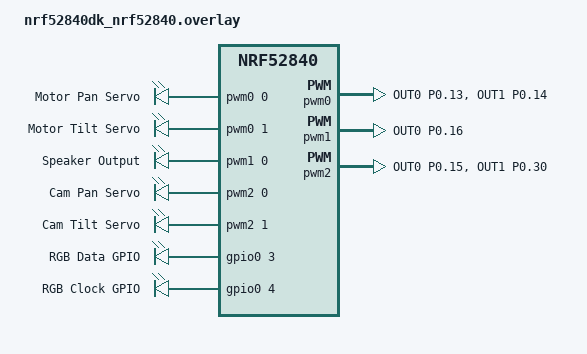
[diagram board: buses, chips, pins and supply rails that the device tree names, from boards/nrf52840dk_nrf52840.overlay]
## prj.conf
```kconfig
CONFIG_PWM=y
CONFIG_GPIO=y
CONFIG_UART_CONSOLE=y
CONFIG_SERIAL=y
CONFIG_SHELL=y
CONFIG_SHELL_BACKEND_SERIAL=y

CONFIG_BT=y
CONFIG_BT_OBSERVER=y
CONFIG_BT_CENTRAL=y
CONFIG_BT_HCI=y
CONFIG_BT_PERIPHERAL=y
CONFIG_BT_DEVICE_NAME="ARC_NO_A"
CONFIG_BT_DEVICE_APPEARANCE=0
CONFIG_BT_PRIVACY=n
CONFIG_BT_MAX_CONN=2
CONFIG_BT_MAX_PAIRED=0

CONFIG_LOG=y
CONFIG_LOG_MODE_DEFERRED=y
CONFIG_LOG_DEFAULT_LEVEL=3
CONFIG_LOG_BUFFER_SIZE=2048
CONFIG_PRINTK=y

CONFIG_SHELL=y
CONFIG_SHELL_BACKEND_SERIAL=y
CONFIG_UART_CONSOLE=y

CONFIG_FLASH=y
CONFIG_FLASH_MAP=y
CONFIG_FILE_SYSTEM=y
CONFIG_FILE_SYSTEM_LITTLEFS=y
CONFIG_MAIN_STACK_SIZE=4096
```

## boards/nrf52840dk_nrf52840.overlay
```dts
/ {
    aliases {
        motor-servo-pan = &motor_servo_pan;
        motor-servo-tilt = &motor_servo_tilt;
        cam-servo-pan = &cam_servo_pan;
        cam-servo-tilt = &cam_servo_tilt;
        speaker-out = &speaker_pwm;
        rgb-data = &rgb_data;
        rgb-clock = &rgb_clock;
    };

    pwmleds {
        compatible = "pwm-leds";
        status = "okay";

        motor_servo_pan: pan_led {
            pwms = <&pwm0 0 PWM_MSEC(20) PWM_POLARITY_NORMAL>; // P0.13
            label = "Motor Pan Servo";
        };

        motor_servo_tilt: tilt_led {
            pwms = <&pwm0 1 PWM_MSEC(20) PWM_POLARITY_NORMAL>; // P0.14
            label = "Motor Tilt Servo";
        };

        speaker_pwm: speaker_led {
            pwms = <&pwm1 0 PWM_USEC(1000) PWM_POLARITY_NORMAL>; // P0.16
            label = "Speaker Output";
        };

        cam_servo_pan: pan2_led {
            pwms = <&pwm2 0 PWM_MSEC(20) PWM_POLARITY_NORMAL>;  // P0.15
            label = "Cam Pan Servo";
        };

        cam_servo_tilt: tilt2_led {
            pwms = <&pwm2 1 PWM_MSEC(20) PWM_POLARITY_NORMAL>;  // P0.30
            label = "Cam Tilt Servo";
        };
    };

    rgb_gpios {
        compatible = "gpio-leds";

        rgb_data: rgb_data {
            gpios = <&gpio0 3 GPIO_ACTIVE_HIGH>;
            label = "RGB Data GPIO";
        };

        rgb_clock: rgb_clock {
            gpios = <&gpio0 4 GPIO_ACTIVE_HIGH>;
            label = "RGB Clock GPIO";
        };
    };
};

&pwm0 {
    status = "okay";
    pinctrl-0 = <&pwm0_default>;
    pinctrl-1 = <&pwm0_sleep>;
    pinctrl-names = "default", "sleep";
};

&pwm1 {
    status = "okay";
    pinctrl-0 = <&pwm1_default>;
    pinctrl-1 = <&pwm1_sleep>;
    pinctrl-names = "default", "sleep";
};

&pwm2 {
    status = "okay";
    pinctrl-0 = <&pwm2_default>;
    pinctrl-1 = <&pwm2_sleep>;
    pinctrl-names = "default", "sleep";
};

&pinctrl {
    pwm0_default: pwm0_default {
        group1 {
            psels = <NRF_PSEL(PWM_OUT0, 0, 13)>,  // P0.13 = Motor Pan
                    <NRF_PSEL(PWM_OUT1, 0, 14)>;  // P0.14 = Motor Tilt
        };
    };

    pwm0_sleep: pwm0_sleep {
        group1 {};
    };

    pwm1_default: pwm1_default {
        group1 {
            psels = <NRF_PSEL(PWM_OUT0, 0, 16)>;  // P0.16 = Speaker
        };
    };

    pwm1_sleep: pwm1_sleep {
        group1 {
            psels = <NRF_PSEL(PWM_OUT0, 0, 16)>;
        };
    };

    pwm2_default: pwm2_default {
        group1 {
            psels = <NRF_PSEL(PWM_OUT0, 0, 15)>,  // P0.15 = Cam Pan
                    <NRF_PSEL(PWM_OUT1, 0, 30)>;   // P0.30 = Cam Tilt
        };
    };

    pwm2_sleep: pwm2_sleep {
        group1 {
            psels = <NRF_PSEL(PWM_OUT0, 0, 15)>,
                    <NRF_PSEL(PWM_OUT1, 0, 30)>;
        };
    };
};
```

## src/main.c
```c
#include <zephyr/kernel.h>
#include <zephyr/device.h>
#include <zephyr/drivers/pwm.h>
#include <zephyr/devicetree.h>
#include <zephyr/init.h>
#include <zephyr/bluetooth/bluetooth.h>
#include <zephyr/bluetooth/hci.h>
#include <string.h>
#include <stdlib.h>
#include <math.h>
#include <zephyr/fs/littlefs.h>
#include <zephyr/logging/log.h>
#include <zephyr/shell/shell.h>
#include <zephyr/fs/fs.h>
#include <zephyr/drivers/gpio.h>
#include <hal/nrf_gpio.h>

LOG_MODULE_REGISTER(nrf, LOG_LEVEL_INF);

#define PWM_PERIOD_USEC 20000

#define PAN_LEFT_USEC 2600
#define PAN_RIGHT_USEC 700
#define PAN_CENTER_USEC 1700

#define TILT_DOWN_USEC 500
#define TILT_UP_USEC 2000
#define TILT_CENTER_USEC 1000

#define CAM_PAN_STEP_USEC 200
#define CAM_TILT_STEP_USEC 100

#define CAM_PAN_MIN_USEC 800
#define CAM_PAN_CENTER_USEC 1300
#define CAM_PAN_MAX_USEC 1800

#define CAM_TILT_MIN_USEC 800
#define CAM_TILT_CENTER_USEC 1100
#define CAM_TILT_MAX_USEC 1400

static int tone_volume_factor = 1000;
static bool logging_enabled = false;

static const struct pwm_dt_spec motor_pan = PWM_DT_SPEC_GET(DT_ALIAS(motor_servo_pan));
static const struct pwm_dt_spec motor_tilt = PWM_DT_SPEC_GET(DT_ALIAS(motor_servo_tilt));
static const struct pwm_dt_spec speaker = PWM_DT_SPEC_GET(DT_ALIAS(speaker_out));
static const struct pwm_dt_spec cam_pan = PWM_DT_SPEC_GET(DT_ALIAS(cam_servo_pan));
static const struct pwm_dt_spec cam_tilt = PWM_DT_SPEC_GET(DT_ALIAS(cam_servo_tilt));

static int32_t cam_pan_pos = CAM_PAN_CENTER_USEC;
static int32_t cam_tilt_pos = CAM_TILT_CENTER_USEC;

#define STACK_SIZE 2048
#define PRIORITY 5

#define LOG_QUEUE_SIZE 10
#define RGB_QUEUE_SIZE 10
#define LOG_MSG_MAX_LEN 64

#define RGB_DATA_NODE DT_ALIAS(rgb_data)
#define RGB_CLK_NODE DT_ALIAS(rgb_clock)

static const struct gpio_dt_spec rgb_di_spec = GPIO_DT_SPEC_GET(RGB_DATA_NODE, gpios);
static const struct gpio_dt_spec rgb_ci_spec = GPIO_DT_SPEC_GET(RGB_CLK_NODE, gpios);

#define RGB_DI 3
#define RGB_CI 4

K_MSGQ_DEFINE(log_msgq, LOG_MSG_MAX_LEN, LOG_QUEUE_SIZE, 4);
K_MSGQ_DEFINE(rgb_msgq, sizeof(int), RGB_QUEUE_SIZE, 4);

K_THREAD_STACK_DEFINE(bt_scan_stack, STACK_SIZE);
static struct k_thread bt_scan_thread_data;
K_THREAD_STACK_DEFINE(tone_stack_area, STACK_SIZE);
static struct k_thread tone_thread_data;
K_THREAD_STACK_DEFINE(log_thread_stack, STACK_SIZE);
static struct k_thread log_thread_data;
K_THREAD_STACK_DEFINE(rgb_thread_stack, STACK_SIZE);
static struct k_thread rgb_thread_data;

struct tone_control {
  struct k_mutex lock;
  float current_distance;
  bool active;
};

static struct tone_control tone_ctrl = {
    .lock = Z_MUTEX_INITIALIZER(tone_ctrl.lock),
    .current_distance = 0.0f,
    .active = false
};

void play_tone(uint32_t freq_hz, uint32_t duration_ms)
{
  if (!device_is_ready(speaker.dev)) {
    printk("Speaker PWM not ready\n");
    return;
  }

  uint32_t period = 1000000 / freq_hz;
  uint32_t pulse = period / tone_volume_factor;

  int ret = pwm_set_dt(&speaker, PWM_USEC(period), PWM_USEC(pulse));
  if (ret < 0) {
    printk("PWM set failed: %d\n", ret);
    return;
  }

  k_msleep(duration_ms);
  pwm_set_dt(&speaker, 0, 0);  // Stop tone
}

void tone_thread_fn(void *arg1, void *arg2, void *arg3)
{
  while (1) {
    k_mutex_lock(&tone_ctrl.lock, K_FOREVER);

    float d = tone_ctrl.current_distance;
    bool should_play = tone_ctrl.active;

    k_mutex_unlock(&tone_ctrl.lock);

    if (!should_play || d >= 2.0f) {
      k_msleep(200);
      continue;
    }

    uint32_t gap_duration = 0;

    if (d < 0.5f) {
      gap_duration = 100;
    } else if (d < 1.0f) {
      gap_duration = 500;
    } else if (d < 2.0f) {
      gap_duration = 1000;
    }

    play_tone(1000, 200); // Always beep for 200 ms
    k_msleep(gap_duration); // Wait before next beep
  }
}

void send_rgb_bit(uint8_t bit) {
  gpio_pin_set_dt(&rgb_di_spec, bit); // Set Data line (DI)
  k_sleep(K_USEC(10));
  gpio_pin_set_dt(&rgb_ci_spec, 1);
  k_sleep(K_USEC(10));
  gpio_pin_set_dt(&rgb_ci_spec, 0);
}

void send_rgb_byte(uint8_t byte) {
  for (int i = 7; i >= 0; i--) {
    send_rgb_bit((byte >> i) & 1);
  }
}

void send_rgb_colour(uint8_t red, uint8_t green, uint8_t blue) {
  // Send 6-bit prefix based on colour MSB bits
  uint8_t prefix = 0b11000000;
  if (!(blue & 0x80)) {
    prefix |= 0b00100000;
  }
  if (!(blue & 0x40)) {
    prefix |= 0b00010000;
  }
  if (!(green & 0x80)) {
    prefix |= 0b00001000;
  }
  if (!(green & 0x40)) {
    prefix |= 0b00000100;
  }
  if (!(red & 0x80)) {
    prefix |= 0b00000010;
  }
  if (!(red & 0x40)) {
    prefix |= 0b00000001;
  }

  send_rgb_byte(prefix);
  send_rgb_byte(blue);
  send_rgb_byte(green);
  send_rgb_byte(red);
}

void send_rgb_sequence(uint8_t red, uint8_t green, uint8_t blue) {
  for (int i = 0; i < 4; i++) {
    send_rgb_byte(0x00);  // Start frame
  }
  send_rgb_colour(red, green, blue);
  for (int i = 0; i < 4; i++) {
    send_rgb_byte(0x00);  // End frame
  }
}

void rgb_thread_fn(void *arg1, void *arg2, void *arg3) {
  int ret;
  if (!device_is_ready(rgb_di_spec.port) || !device_is_ready(rgb_ci_spec.port)) {
    printk("Error: RGB GPIO devices are not ready\n");
    return;
  }
  ret = gpio_pin_configure_dt(&rgb_di_spec, GPIO_OUTPUT_ACTIVE);
  if (ret < 0) {
    printk("Error: Failed to configure RGB Data GPIO\n");
    return;
  }
  ret = gpio_pin_configure_dt(&rgb_ci_spec, GPIO_OUTPUT_ACTIVE);
  if (ret < 0) {
    printk("Error: Failed to configure RGB Clock GPIO\n");
    return;
  }

  while (1) {
    int cmd;
    static int last_cmd = -1;

    if (k_msgq_get(&rgb_msgq, &cmd, K_FOREVER) == 0) {
      last_cmd = cmd;
    }

    while (1) {
      int new_cmd;
      if (k_msgq_get(&rgb_msgq, &new_cmd, K_NO_WAIT) == 0) {
        last_cmd = new_cmd;
        break;
      }

      switch (last_cmd) {
      case 0: // GO - Green
        send_rgb_sequence(0, 255, 0);
        break;
      case 1: // STOP - Red
        send_rgb_sequence(255, 0, 0);
        break;
      case 2: // LEFT - Yellow blink
        send_rgb_sequence(255, 255, 0);
        k_msleep(300);
        send_rgb_sequence(0, 0, 0);
        k_msleep(300);
        continue;
      case 3: // RIGHT - Blue blink
        send_rgb_sequence(0, 0, 255);
        k_msleep(300);
        send_rgb_sequence(0, 0, 0);
        k_msleep(300);
        continue;
      default:
        send_rgb_sequence(0, 0, 0); // Default OFF
        break;
      }
    }
  }
}

void handle_distance(int int_part, int frac_part)
{
  float distance = int_part + (frac_part / 100.0f);

  k_mutex_lock(&tone_ctrl.lock, K_FOREVER);
  tone_ctrl.current_distance = distance;
  tone_ctrl.active = true;
  k_mutex_unlock(&tone_ctrl.lock);

  LOG_INF("Tracking proximity: %d.%02d m", int_part, frac_part);
}

void log_thread_fn(void *arg1, void *arg2, void *arg3) {
  char msg_buf[LOG_MSG_MAX_LEN];

  while (1) {
    if (k_msgq_get(&log_msgq, &msg_buf, K_FOREVER) == 0) {
      struct fs_file_t file;
      fs_file_t_init(&file);
      if (fs_open(&file, "/lfs/log.txt", FS_O_WRITE | FS_O_CREATE | FS_O_APPEND) == 0) {
        fs_write(&file, msg_buf, strlen(msg_buf));
        fs_close(&file);
      } else {
        printk("Failed to write to /lfs/log.txt\n");
      }
    }
  }
}

struct bt_le_scan_param scan_param = {
    .type     = BT_HCI_LE_SCAN_PASSIVE,
    .options  = BT_LE_SCAN_OPT_NONE,
    .interval = 0x0010,
    .window   = 0x0010,
};

static bool ad_extract_rpi_msg(struct bt_data *data, void *user_data)
{
  char *mfg_buf = user_data;
  if (data->type == BT_DATA_MANUFACTURER_DATA) {
    size_t len = MIN(data->data_len, 30);
    // Skip the 2-byte manufacturer ID (e.g., 0xFFFF)
    if (data->data_len > 2) {
      memcpy(mfg_buf, data->data + 2, len - 2);
      mfg_buf[len - 2] = '\0';
    } else {
      mfg_buf[0] = '\0';  // Invalid manufacturer payload
    }
    return false;
  }
  return true;
}

void handle_command(int cmd)
{
  switch (cmd) {
  case 0: // GO
    pwm_set(motor_tilt.dev, motor_tilt.channel, PWM_USEC(PWM_PERIOD_USEC), PWM_USEC(TILT_DOWN_USEC), 0);
    pwm_set(motor_pan.dev, motor_pan.channel, PWM_USEC(PWM_PERIOD_USEC), PWM_USEC(PAN_CENTER_USEC), 0);
    LOG_INF("[ACTION] GO");
    break;
  case 1: // STOP
    pwm_set(motor_tilt.dev, motor_tilt.channel, PWM_USEC(PWM_PERIOD_USEC), PWM_USEC(TILT_UP_USEC), 0);
    pwm_set(motor_pan.dev, motor_pan.channel, PWM_USEC(PWM_PERIOD_USEC), PWM_USEC(PAN_CENTER_USEC), 0);
    LOG_INF("[ACTION] STOP");
    break;
  case 2: // LEFT
    pwm_set(motor_pan.dev, motor_pan.channel, PWM_USEC(PWM_PERIOD_USEC), PWM_USEC(PAN_LEFT_USEC), 0);
    pwm_set(motor_tilt.dev, motor_tilt.channel, PWM_USEC(PWM_PERIOD_USEC), PWM_USEC(TILT_DOWN_USEC), 0);
    LOG_INF("[ACTION] LEFT");
    break;
  case 3: // RIGHT
    pwm_set(motor_pan.dev, motor_pan.channel, PWM_USEC(PWM_PERIOD_USEC), PWM_USEC(PAN_RIGHT_USEC), 0);
    pwm_set(motor_tilt.dev, motor_tilt.channel, PWM_USEC(PWM_PERIOD_USEC), PWM_USEC(TILT_DOWN_USEC), 0);
    LOG_INF("[ACTION] RIGHT");
    break;
  default:
    LOG_WRN("Unknown command received: %d", cmd);
    break;
  }
}

void handle_camera_movement(char cam_pan_buf[5], char cam_tilt_buf[5]) {
  int pan_dir = cam_pan_buf[0] - '0';
  int pan_offset = atoi(&cam_pan_buf[1]);
  int tilt_dir = cam_tilt_buf[0] - '0';
  int tilt_offset = atoi(&cam_tilt_buf[1]);

  cam_pan_pos = (pan_dir == 2) ? CAM_PAN_CENTER_USEC
                               : CAM_PAN_CENTER_USEC + ((pan_dir == 1) ? pan_offset : -pan_offset);

  cam_tilt_pos = (tilt_dir == 2) ? CAM_TILT_CENTER_USEC
                                 : CAM_TILT_CENTER_USEC + ((tilt_dir == 1) ? tilt_offset : -tilt_offset);

  pwm_set(cam_pan.dev, cam_pan.channel, PWM_USEC(PWM_PERIOD_USEC), PWM_USEC(cam_pan_pos), 0);
  pwm_set(cam_tilt.dev, cam_tilt.channel, PWM_USEC(PWM_PERIOD_USEC), PWM_USEC(cam_tilt_pos), 0);

  LOG_INF("Cam moved to pan=%ld tilt=%ld", (long)cam_pan_pos, (long)cam_tilt_pos);
}

void scan_cb(const bt_addr_le_t *addr, int8_t rssi,
             uint8_t type, struct net_buf_simple *ad)
{
  char mfg_buf[32] = {0};
  bt_data_parse(ad, ad_extract_rpi_msg, mfg_buf);

  if (strncmp(mfg_buf, "B1:", 3) == 0) {
    int cmd = -1;
    int int_part = 0;
    int frac_part = 0;
    char cam_pan_buf[5] = {0};  // 4 digits + null
    char cam_tilt_buf[5] = {0};

    if (sscanf(mfg_buf + 3, "%d,%d.%d,%4s,%4s",
               &cmd, &int_part, &frac_part, cam_pan_buf, cam_tilt_buf) == 5) {

      LOG_INF("Parsed BLE: cmd=%d, dist=%d.%02d, cam_pan=%s, cam_tilt=%s",
              cmd, int_part, frac_part, cam_pan_buf, cam_tilt_buf);

      // Convert distance and command
      handle_command(cmd);
      handle_distance(int_part, frac_part);
      handle_camera_movement(cam_pan_buf, cam_tilt_buf);

      const char *gesture_str = NULL;
      if (cmd == 0) {
        gesture_str = "Go";
      } else if (cmd == 1) {
        gesture_str = "Stop";
      } else if (cmd == 2) {
        gesture_str = "Left";
      } else if (cmd == 3) {
        gesture_str = "Right";
      }

      if (gesture_str && logging_enabled) {
        char line[LOG_MSG_MAX_LEN];
        snprintf(line, sizeof(line), "Gesture: %s, Distance: %d.%02dm\n", gesture_str, int_part, frac_part);
        if (k_msgq_put(&log_msgq, &line, K_NO_WAIT) != 0) {
          printk("Log queue full, dropping log entry\n");
        }
      }
      if (k_msgq_put(&rgb_msgq, &cmd, K_NO_WAIT) != 0) {
        printk("RGB queue full, dropping RGB entry\n");
      }
    } else {
      LOG_WRN("Malformed B1 packet: %s", mfg_buf);
    }
  }
}

void bt_scan_thread_fn(void)
{
  int err = bt_le_scan_start(&scan_param, scan_cb);

  if (err && err != -EALREADY) {
    LOG_ERR("[NRF] Failed to start scan: %d", err);
  } else {
    LOG_INF("[NRF] Scan started.");
  }
}

static int clamp(const struct shell *shell, int val, int min, int max, const char *label) {
  if (val < min) {
    shell_print(shell, "%s reached minimum limit (%d)", label, min);
    return min;
  }
  if (val > max) {
    shell_print(shell, "%s reached maximum limit (%d)", label, max);
    return max;
  }
  return val;
}

FS_LITTLEFS_DECLARE_DEFAULT_CONFIG(storage);

static struct fs_mount_t lfs_storage_mnt = {
    .type = FS_LITTLEFS,
    .mnt_point = "/lfs",
    .fs_data = &storage,
    .storage_dev = (void *)FIXED_PARTITION_ID(storage_partition),
};

void init_fs(void) {
  int rc = fs_mount(&lfs_storage_mnt);
  if (rc < 0) {
    printk("Error mounting LittleFS [%d]\n", rc);
  } else {
    printk("Mounted LittleFS at /lfs\n");
  }
}

// Shell commands
static int cmd_simulate(const struct shell *shell, size_t argc, char **argv) {
  if (argc != 3) {
    shell_print(shell, "Usage: simulate <gesture:go|stop|left|right> <distance:float>");
    return -EINVAL;
  }

  const char *gesture = argv[1];
  float distance = strtof(argv[2], NULL);
  int cmd = -1;

  if (strcmp(gesture, "go") == 0) {
    cmd = 0;
  } else if (strcmp(gesture, "stop") == 0) {
    cmd = 1;
  } else if (strcmp(gesture, "left") == 0) {
    cmd = 2;
  } else if (strcmp(gesture, "right") == 0) {
    cmd = 3;
  } else {
    shell_print(shell, "Invalid gesture: %s", gesture);
    return -EINVAL;
  }

  handle_command(cmd);

  int int_part = (int)distance;
  int frac_part = (int)((distance - int_part) * 100);
  handle_distance(int_part, frac_part);

  if (k_msgq_put(&rgb_msgq, &cmd, K_NO_WAIT) != 0) {
    printk("RGB queue full, dropping RGB entry\n");
  }

  shell_print(shell, "Simulating gesture %s and distance %d.%02d", gesture, int_part, frac_part);
  return 0;
}

static int cmd_tone(const struct shell *shell, size_t argc, char **argv) {
  if (argc < 2) {
    shell_print(shell, "Usage: tone <off|on|volume <int>|distance <float>>");
    return -EINVAL;
  }

  const char *subcmd = argv[1];

  if (strcmp(subcmd, "off") == 0) {
    tone_volume_factor = 10000;
    shell_print(shell, "Tone disabled");
  } else if (strcmp(subcmd, "on") == 0) {
    tone_volume_factor = 1000;
    shell_print(shell, "Tone enabled (default volume)");
  } else if (strcmp(subcmd, "volume") == 0) {
    if (argc != 3) {
      shell_print(shell, "Usage: tone volume <int>");
      return -EINVAL;
    }
    int vol = atoi(argv[2]);
    if (vol <= 0) {
      shell_print(shell, "Invalid volume.");
      return -EINVAL;
    }
    tone_volume_factor = vol;
    shell_print(shell, "Tone volume factor set to %d", vol);
  } else if (strcmp(subcmd, "distance") == 0) {
    if (argc != 3) {
      shell_print(shell, "Usage: tone distance <float>");
      return -EINVAL;
    }
    float d = strtof(argv[2], NULL);
    int int_part = (int)d;
    int frac_part = (int)((d - int_part) * 100);
    handle_distance(int_part, frac_part);
    shell_print(shell, "Tone set for distance %d.%02dm", int_part, frac_part);
  } else {
    shell_print(shell, "Unknown tone command: %s", subcmd);
    return -EINVAL;
  }

  return 0;
}

static int cmd_pt(const struct shell *shell, size_t argc, char **argv) {
  if (argc < 3) {
    shell_print(shell, "Usage: pt <cam|motor> <args>");
    return -EINVAL;
  }

  const char *target = argv[1];

  if (strcmp(target, "cam") == 0) {
    if (argc != 4) {
      shell_print(shell, "Usage: pt cam <pan|tilt> <left|right|center|up|down>");
      return -EINVAL;
    }

    const char *axis = argv[2];
    const char *dir = argv[3];
    int pulse = 0;

    if (strcmp(axis, "pan") == 0) {
      if (strcmp(dir, "right") == 0) {
        cam_pan_pos -= CAM_PAN_STEP_USEC;
      } else if (strcmp(dir, "left") == 0) {
        cam_pan_pos += CAM_PAN_STEP_USEC;
      } else if (strcmp(dir, "center") == 0) {
        cam_pan_pos = CAM_PAN_CENTER_USEC;
      } else {
        shell_print(shell, "Invalid direction for pan: %s", dir);
        return -EINVAL;
      }
      cam_pan_pos = clamp(shell, cam_pan_pos, CAM_PAN_MIN_USEC, CAM_PAN_MAX_USEC, "Cam pan");
      pulse = cam_pan_pos;
      pwm_set(cam_pan.dev, cam_pan.channel, PWM_USEC(PWM_PERIOD_USEC), PWM_USEC(pulse), 0);
    } else if (strcmp(axis, "tilt") == 0) {
      if (strcmp(dir, "up") == 0) {
        cam_tilt_pos -= CAM_TILT_STEP_USEC;
      } else if (strcmp(dir, "down") == 0) {
        cam_tilt_pos += CAM_TILT_STEP_USEC;
      } else if (strcmp(dir, "center") == 0) {
        cam_tilt_pos = CAM_TILT_CENTER_USEC;
      } else {
        shell_print(shell, "Invalid direction for tilt: %s", dir);
        return -EINVAL;
      }
      cam_tilt_pos = clamp(shell, cam_tilt_pos, CAM_TILT_MIN_USEC, CAM_TILT_MAX_USEC, "Cam tilt");
      pulse = cam_tilt_pos;
      pwm_set(cam_tilt.dev, cam_tilt.channel, PWM_USEC(PWM_PERIOD_USEC), PWM_USEC(pulse), 0);
    } else {
      shell_print(shell, "Invalid axis: %s", axis);
      return -EINVAL;
    }

    shell_print(shell, "Moved cam %s to %s -> pulse = %d", axis, dir, pulse);
  } else if (strcmp(target, "motor") == 0) {
    const char *action = argv[2];
    if (strcmp(action, "go") == 0) {
      handle_command(0);
    } else if (strcmp(action, "stop") == 0) {
      handle_command(1);
    } else if (strcmp(action, "left") == 0) {
      handle_command(2);
    } else if (strcmp(action, "right") == 0) {
      handle_command(3);
    } else {
      shell_print(shell, "Invalid motor action: %s", action);
      return -EINVAL;
    }
    shell_print(shell, "Moved motor for action %s", action);
  } else {
    shell_print(shell, "Unknown target: %s", target);
    return -EINVAL;
  }

  return 0;
}

static int cmd_log_start(const struct shell *shell, size_t argc, char **argv) {
  logging_enabled = true;
  shell_print(shell, "Logging enabled.");
  return 0;
}

static int cmd_log_stop(const struct shell *shell, size_t argc, char **argv) {
  logging_enabled = false;
  shell_print(shell, "Logging disabled.");
  return 0;
}

static int cmd_log_read(const struct shell *shell, size_t argc, char **argv) {
  if (argc != 2) {
    shell_print(shell, "Usage: log_read <filename>");
    return -EINVAL;
  }

  char path[64];
  snprintf(path, sizeof(path), "/lfs/%s", argv[1]);

  struct fs_file_t file;
  fs_file_t_init(&file);

  if (fs_open(&file, path, FS_O_READ) < 0) {
    shell_print(shell, "Failed to open %s", path);
    return -ENOENT;
  }

  char ch;
  char line[128];
  size_t pos = 0;

  while (fs_read(&file, &ch, 1) == 1) {
    if (ch == '\n' || pos >= sizeof(line) - 1) {
      line[pos] = '\0';
      shell_print(shell, "%s", line);
      pos = 0;
    } else {
      line[pos++] = ch;
    }
  }

  if (pos > 0) {  // flush final line if no newline
    line[pos] = '\0';
    shell_print(shell, "%s", line);
  }

  fs_close(&file);
  return 0;
}

static int cmd_log_write(const struct shell *shell, size_t argc, char **argv) {
  if (argc < 3) {
    shell_print(shell, "Usage: log_write <filename> <text>");
    return -EINVAL;
  }

  char path[64];
  snprintf(path, sizeof(path), "/lfs/%s", argv[1]);

  struct fs_file_t file;
  fs_file_t_init(&file);

  if (fs_open(&file, path, FS_O_WRITE | FS_O_CREATE | FS_O_APPEND) == 0) {
    for (size_t i = 2; i < argc; i++) {
      fs_write(&file, argv[i], strlen(argv[i]));
      fs_write(&file, " ", 1);
    }
    fs_write(&file, "\n", 1);
    fs_close(&file);
    shell_print(shell, "Entry written to %s", path);
  } else {
    shell_print(shell, "Failed to write to %s", path);
  }

  return 0;
}

static int cmd_log_list(const struct shell *shell, size_t argc, char **argv) {
  struct fs_dir_t dir;
  struct fs_dirent entry;

  fs_dir_t_init(&dir);

  if (fs_opendir(&dir, "/lfs") < 0) {
    shell_print(shell, "Failed to open /lfs");
    return -ENOENT;
  }

  while (fs_readdir(&dir, &entry) == 0 && entry.name[0] != 0) {
    shell_print(shell, "%s", entry.name);
  }

  fs_closedir(&dir);
  return 0;
}

static int cmd_log_remove(const struct shell *shell, size_t argc, char **argv) {
  if (argc != 2) {
    shell_print(shell, "Usage: log_rm <filename>");
    return -EINVAL;
  }

  char path[64];
  snprintf(path, sizeof(path), "/lfs/%s", argv[1]);

  int rc = fs_unlink(path);
  if (rc == 0) {
    shell_print(shell, "Deleted: %s", path);
  } else {
    shell_print(shell, "Failed to delete: %s (err %d)", path, rc);
  }

  return rc;
}

SHELL_CMD_REGISTER(simulate, NULL, "Simulate <gesture> <distance>", cmd_simulate);
SHELL_CMD_REGISTER(tone, NULL, "Tone control or simulate distance tone", cmd_tone);
SHELL_CMD_REGISTER(pt, NULL, "Pan-tilt control for cam or motor", cmd_pt);
SHELL_CMD_REGISTER(log_read, NULL, "Read file: log_read <filename>", cmd_log_read);
SHELL_CMD_REGISTER(log_write, NULL, "Write to file: log_write <filename> <text>", cmd_log_write);
SHELL_CMD_REGISTER(log_rm, NULL, "Remove a file from /lfs: log_rm <filename>", cmd_log_remove);
SHELL_CMD_REGISTER(log_list, NULL, "List all files in /lfs", cmd_log_list);
SHELL_CMD_REGISTER(log_start, NULL, "Enable automatic logging", cmd_log_start);
SHELL_CMD_REGISTER(log_stop, NULL, "Disable automatic logging", cmd_log_stop);

void main(void)
{
  init_fs();
  if (!device_is_ready(motor_pan.dev) || !device_is_ready(motor_tilt.dev)
      || !device_is_ready(cam_pan.dev) || !device_is_ready(cam_tilt.dev)) {
    printk("Error: Servo device(s) not ready\n");
    return;
  }

  // Recenter servos on boot
  pwm_set(motor_pan.dev, motor_pan.channel, PWM_USEC(PWM_PERIOD_USEC), PWM_USEC(PAN_CENTER_USEC), 0);
  pwm_set(motor_tilt.dev, motor_tilt.channel, PWM_USEC(PWM_PERIOD_USEC), PWM_USEC(TILT_CENTER_USEC), 0);
  pwm_set(cam_pan.dev, cam_pan.channel, PWM_USEC(PWM_PERIOD_USEC), PWM_USEC(CAM_PAN_CENTER_USEC), 0);
  pwm_set(cam_tilt.dev, cam_tilt.channel, PWM_USEC(PWM_PERIOD_USEC), PWM_USEC(CAM_TILT_CENTER_USEC), 0);

  printk("Pan-tilt system ready\n");

  int err = bt_enable(NULL);
  if (err) {
    LOG_ERR("Bluetooth init failed: %d", err);
    return;
  }

  k_thread_create(&bt_scan_thread_data, bt_scan_stack, STACK_SIZE,
                  (k_thread_entry_t)bt_scan_thread_fn,
                  NULL, NULL, NULL, PRIORITY, 0, K_NO_WAIT);
  k_thread_create(&tone_thread_data, tone_stack_area, STACK_SIZE,
                  (k_thread_entry_t)tone_thread_fn, NULL, NULL, NULL, PRIORITY, 0, K_NO_WAIT);
  k_thread_create(&log_thread_data, log_thread_stack,STACK_SIZE,
                  (k_thread_entry_t)log_thread_fn, NULL, NULL, NULL,
                  PRIORITY, 0, K_NO_WAIT);
  k_thread_create(&rgb_thread_data, rgb_thread_stack,STACK_SIZE,
                  (k_thread_entry_t)rgb_thread_fn, NULL, NULL, NULL,
                  PRIORITY, 0, K_NO_WAIT);
}
```
